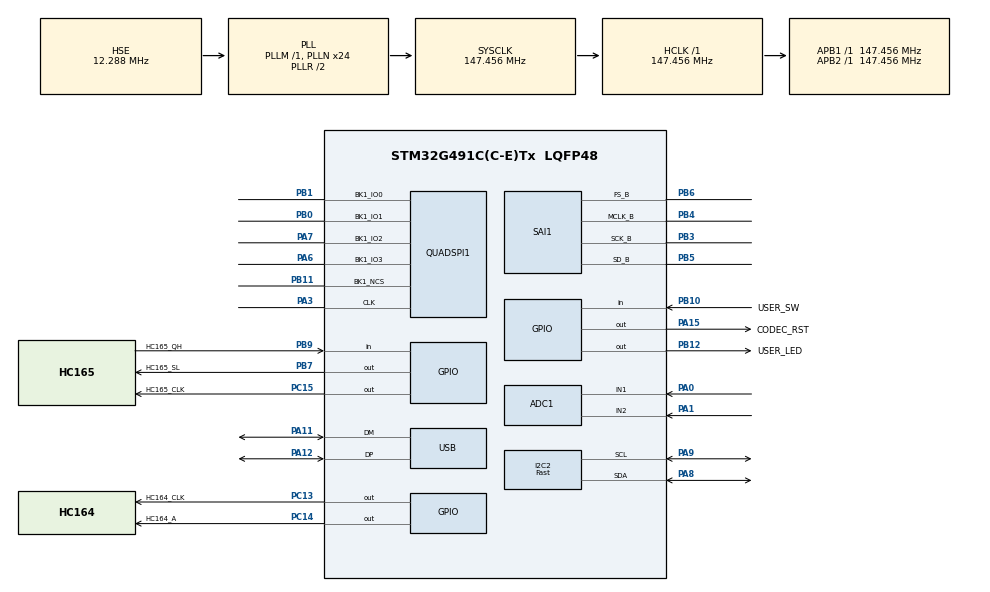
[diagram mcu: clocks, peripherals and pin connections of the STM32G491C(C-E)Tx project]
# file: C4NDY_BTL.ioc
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ADC1.Channel-0\#ChannelRegularConversion=ADC_CHANNEL_1
ADC1.Channel-1\#ChannelRegularConversion=ADC_CHANNEL_2
ADC1.ClockPrescaler=ADC_CLOCK_ASYNC_DIV4
ADC1.ContinuousConvMode=ENABLE
ADC1.DMAContinuousRequests=ENABLE
ADC1.NbrOfConversion=2
ADC1.NbrOfConversionFlag=1
ADC1.OffsetNumber-0\#ChannelRegularConversion=ADC_OFFSET_NONE
ADC1.OffsetNumber-1\#ChannelRegularConversion=ADC_OFFSET_NONE
ADC1.Overrun=ADC_OVR_DATA_OVERWRITTEN
ADC1.OversamplingMode=DISABLE
ADC1.Rank-0\#ChannelRegularConversion=1
ADC1.Rank-1\#ChannelRegularConversion=2
ADC1.SamplingTime-0\#ChannelRegularConversion=ADC_SAMPLETIME_640CYCLES_5
ADC1.SamplingTime-1\#ChannelRegularConversion=ADC_SAMPLETIME_640CYCLES_5
ADC1.master=1
Dma.ADC1.0.Direction=DMA_PERIPH_TO_MEMORY
Dma.ADC1.0.EventEnable=DISABLE
Dma.ADC1.0.Instance=DMA1_Channel2
Dma.ADC1.0.MemDataAlignment=DMA_MDATAALIGN_HALFWORD
Dma.ADC1.0.MemInc=DMA_MINC_ENABLE
Dma.ADC1.0.Mode=DMA_CIRCULAR
Dma.ADC1.0.PeriphDataAlignment=DMA_PDATAALIGN_HALFWORD
Dma.ADC1.0.PeriphInc=DMA_PINC_DISABLE
Dma.ADC1.0.Polarity=HAL_DMAMUX_REQ_GEN_RISING
Dma.ADC1.0.Priority=DMA_PRIORITY_LOW
Dma.ADC1.0.RequestNumber=1
Dma.ADC1.0.SignalID=NONE
Dma.ADC1.0.SyncEnable=DISABLE
Dma.ADC1.0.SyncPolarity=HAL_DMAMUX_SYNC_NO_EVENT
Dma.ADC1.0.SyncRequestNumber=1
Dma.ADC1.0.SyncSignalID=NONE
Dma.Request0=ADC1
Dma.Request1=SAI1_B
Dma.SAI1_B.1.Direction=DMA_MEMORY_TO_PERIPH
Dma.SAI1_B.1.EventEnable=DISABLE
Dma.SAI1_B.1.Instance=DMA1_Channel1
Dma.SAI1_B.1.MemDataAlignment=DMA_MDATAALIGN_HALFWORD
Dma.SAI1_B.1.MemInc=DMA_MINC_ENABLE
Dma.SAI1_B.1.Mode=DMA_CIRCULAR
Dma.SAI1_B.1.PeriphDataAlignment=DMA_PDATAALIGN_HALFWORD
Dma.SAI1_B.1.PeriphInc=DMA_PINC_DISABLE
Dma.SAI1_B.1.Polarity=HAL_DMAMUX_REQ_GEN_RISING
Dma.SAI1_B.1.Priority=DMA_PRIORITY_LOW
Dma.SAI1_B.1.RequestNumber=1
Dma.SAI1_B.1.SignalID=NONE
Dma.SAI1_B.1.SyncEnable=DISABLE
Dma.SAI1_B.1.SyncPolarity=HAL_DMAMUX_SYNC_NO_EVENT
Dma.SAI1_B.1.SyncRequestNumber=1
Dma.SAI1_B.1.SyncSignalID=NONE
I2C2.I2C_Speed_Mode=I2C_Fast
I2C2.Timing=0x40200F35
Mcu.Family=STM32G4
Mcu.Name=STM32G491C(C-E)Tx
Mcu.Package=LQFP48
NVIC.ADC1_2_IRQn=true\:8\:0\:true\:false\:true\:true\:true\:true
NVIC.DMA1_Channel1_IRQn=true\:0\:0\:false\:false\:true\:false\:true\:true
NVIC.DMA1_Channel2_IRQn=true\:4\:0\:true\:false\:true\:false\:true\:true
NVIC.PriorityGroup=NVIC_PRIORITYGROUP_4
NVIC.SAI1_IRQn=true\:2\:0\:true\:false\:true\:true\:true\:true
NVIC.TIM6_DAC_IRQn=true\:8\:0\:true\:false\:true\:true\:true\:true
NVIC.USB_HP_IRQn=true\:0\:0\:false\:false\:true\:true\:true\:true
NVIC.USB_LP_IRQn=true\:3\:0\:true\:false\:true\:true\:true\:true
PA0.Signal=SharedAnalog_PA0
PA1.Signal=SharedAnalog_PA1
PA11.Mode=Device
PA11.Signal=USB_DM
PA12.Mode=Device
PA12.Signal=USB_DP
PA13.Mode=Serial_Wire
PA13.Signal=SYS_JTMS-SWDIO
PA14.Mode=Serial_Wire
PA14.Signal=SYS_JTCK-SWCLK
PA15.GPIO_Label=CODEC_RST
PA15.Signal=GPIO_Output
PA3.GPIO_Speed=GPIO_SPEED_FREQ_VERY_HIGH
PA3.Mode=Single Bank 1
PA3.Signal=QUADSPI1_CLK
PA6.GPIO_Speed=GPIO_SPEED_FREQ_VERY_HIGH
PA6.Mode=Single Bank 1
PA6.Signal=QUADSPI1_BK1_IO3
PA7.GPIO_Speed=GPIO_SPEED_FREQ_VERY_HIGH
PA7.Mode=Single Bank 1
PA7.Signal=QUADSPI1_BK1_IO2
PA8.Mode=I2C
PA8.Signal=I2C2_SDA
PA9.Mode=I2C
PA9.Signal=I2C2_SCL
PB0.GPIO_Speed=GPIO_SPEED_FREQ_VERY_HIGH
PB0.Mode=Single Bank 1
PB0.Signal=QUADSPI1_BK1_IO1
PB1.GPIO_Speed=GPIO_SPEED_FREQ_VERY_HIGH
PB1.Mode=Single Bank 1
PB1.Signal=QUADSPI1_BK1_IO0
PB10.GPIO_Label=USER_SW
PB10.GPIO_PuPd=GPIO_PULLUP
PB10.Signal=GPIO_Input
PB11.GPIO_Speed=GPIO_SPEED_FREQ_VERY_HIGH
PB11.Mode=Single Bank 1
PB11.Signal=QUADSPI1_BK1_NCS
PB12.GPIO_Label=USER_LED
PB12.Signal=GPIO_Output
PB3.GPIO_Speed=GPIO_SPEED_FREQ_VERY_HIGH
PB3.Mode=SAI_B_MasterWithClock
PB3.Signal=SAI1_SCK_B
PB4.GPIO_Speed=GPIO_SPEED_FREQ_VERY_HIGH
PB4.Mode=SAI_B_MasterWithClock
PB4.Signal=SAI1_MCLK_B
PB5.GPIO_Speed=GPIO_SPEED_FREQ_VERY_HIGH
PB5.Mode=SAI_B_MasterWithClock
PB5.Signal=SAI1_SD_B
PB6.GPIO_FM6=__NULL
PB6.GPIO_Speed=GPIO_SPEED_FREQ_VERY_HIGH
PB6.Mode=SAI_B_MasterWithClock
PB6.Signal=SAI1_FS_B
PB7.GPIO_Label=HC165_SL
PB7.GPIO_Speed=GPIO_SPEED_FREQ_HIGH
PB7.Signal=GPIO_Output
PB9.GPIO_Label=HC165_QH
PB9.Signal=GPIO_Input
PC13.GPIO_Label=HC164_CLK
PC13.Signal=GPIO_Output
PC14-OSC32_IN.GPIO_Label=HC164_A
PC14-OSC32_IN.Signal=GPIO_Output
PC15-OSC32_OUT.GPIO_Label=HC165_CLK
PC15-OSC32_OUT.Signal=GPIO_Output
PF0-OSC_IN.Mode=HSE-External-Clock-Source
PF0-OSC_IN.Signal=RCC_OSC_IN
ProjectManager.HeapSize=0x200
ProjectManager.StackSize=0x400
ProjectManager.TargetToolchain=STM32CubeIDE
QUADSPI1.ClockMode=QSPI_CLOCK_MODE_0
QUADSPI1.ClockPrescaler=1
QUADSPI1.FifoThreshold=4
QUADSPI1.FlashSize=10
QUADSPI1.SampleShifting=QSPI_SAMPLE_SHIFTING_NONE
RCC.ADC12Freq_Value=147456000
RCC.ADC345Freq_Value=147456000
RCC.AHBFreq_Value=147456000
RCC.APB1Freq_Value=147456000
RCC.APB1TimFreq_Value=147456000
RCC.APB2Freq_Value=147456000
RCC.APB2TimFreq_Value=147456000
RCC.CortexFreq_Value=147456000
RCC.EXTERNAL_CLOCK_VALUE=12288000
RCC.HCLKFreq_Value=147456000
RCC.HSE_VALUE=12288000
RCC.HSI48_VALUE=48000000
RCC.HSI_VALUE=16000000
RCC.LSE_VALUE=32768
RCC.PLLN=24
RCC.PLLQ=RCC_PLLQ_DIV6
RCC.PLLSourceVirtual=RCC_PLLSOURCE_HSE
RCC.PWR_Regulator_Voltage_Scale=PWR_REGULATOR_VOLTAGE_SCALE1_BOOST
RCC.SAI1CLockSelection=RCC_SAI1CLKSOURCE_PLL
RCC.SYSCLKFreq_VALUE=147456000
RCC.SYSCLKSource=RCC_SYSCLKSOURCE_PLLCLK
RCC.USBFreq_Value=48000000
RCC.VCOOutputFreq_Value=294912000
SAI1.ActiveFrameLength-SAI_B_MasterWithClock=16
SAI1.AudioFrequency-SAI_B_MasterWithClock=SAI_AUDIO_FREQUENCY_MCKDIV
SAI1.DataSize-SAI_B_MasterWithClock=SAI_DATASIZE_16
SAI1.FIFOThreshold-SAI_B_MasterWithClock=SAI_FIFOTHRESHOLD_HF
SAI1.FirstBitOffset-SAI_B_MasterWithClock=0
SAI1.FrameLength-SAI_B_MasterWithClock=32
SAI1.Instance-SAI_B_MasterWithClock=SAI$Index_Block_B
SAI1.MckOutput-SAI_B_MasterWithClock=SAI_MCK_OUTPUT_ENABLE
SAI1.MckOverSampling-SAI_B_MasterWithClock=SAI_MCK_OVERSAMPLING_DISABLE
SAI1.Mckdiv-SAI_B_MasterWithClock=4
SAI1.MonoStereoMode-SAI_B_MasterWithClock=SAI_STEREOMODE
SAI1.NoDivider-SAI_B_MasterWithClock=SAI_MASTERDIVIDER_ENABLE
SAI1.SlotActive-SAI_B_MasterWithClock=0x0000FFFF
SAI1.SlotNumber-SAI_B_MasterWithClock=2
SAI1.VirtualMode-SAI_B_MasterWithClock=VM_MASTER
SAI1.VirtualSlotActive-SAI_B_MasterWithClock=SAI_SLOTACTIVE_ALL
SH.SharedAnalog_PA0.0=GPIO_Analog
SH.SharedAnalog_PA0.1=ADC1_IN1,IN1-Single-Ended
SH.SharedAnalog_PA1.0=GPIO_Analog
SH.SharedAnalog_PA1.1=ADC1_IN2,IN2-Single-Ended
TIM6.PeriodNoDither=20-1
TIM6.Prescaler=32768-1
USB.Sof_enable=ENABLE
USB_DEVICE.CLASS_NAME_FS=DFU
USB_DEVICE.MANUFACTURER_STRING=Yamamoto Works Ltd.
USB_DEVICE.PID_DFU_FS=0x0001
USB_DEVICE.PRODUCT_STRING_DFU_FS=C4NDY DFU Bootloader
USB_DEVICE.USBD_DFU_APP_DEFAULT_ADD=0x08020000
USB_DEVICE.USBD_DFU_MEDIA=@Internal Flash   /0x08000000/64*02Ka,192*02Kg
USB_DEVICE.USBD_DFU_XFER_SIZE=1024
USB_DEVICE.VID=0x31BF
USB_DEVICE.VirtualMode=Dfu
USB_DEVICE.VirtualModeFS=Dfu_FS
VP_SYS_VS_DBSignals.Mode=DisableDeadBatterySignals
VP_TIM6_VS_ClockSourceINT.Mode=Enable_Timer
VP_USB_DEVICE_VS_USB_DEVICE_DFU_FS.Mode=DFU_FS
board=custom

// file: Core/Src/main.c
/* USER CODE BEGIN Header */
/**
 ******************************************************************************
 * @file           : main.c
 * @brief          : Main program body
 ******************************************************************************
 * @attention
 *
 * Copyright (c) 2023 STMicroelectronics.
 * All rights reserved.
 *
 * This software is licensed under terms that can be found in the LICENSE file
 * in the root directory of this software component.
 * If no LICENSE file comes with this software, it is provided AS-IS.
 *
 ******************************************************************************
 */
/* USER CODE END Header */
#include "main.h"
#include "adc.h"
#include "dma.h"
#include "i2c.h"
#include "quadspi.h"
#include "sai.h"
#include "tim.h"
#include "usb_device.h"
#include "gpio.h"

/* USER CODE BEGIN Includes */
#include "stdbool.h"
/* USER CODE END Includes */

/* USER CODE BEGIN PTD */
typedef void (*pFunction)(void);
/* USER CODE END PTD */

/* USER CODE BEGIN PD */
#define FLASH_APP_ADDR (0x08020000)

#define FLASH_DATA_ADDR (0x0807F000)
/* USER CODE END PD */

/* USER CODE BEGIN PV */
volatile uint32_t jumpAddress;
volatile pFunction jumpToApplication;
/* USER CODE END PV */

void SystemClock_Config(void);

/* USER CODE BEGIN 0 */
void erase_flash_data(void)
{
    static FLASH_EraseInitTypeDef EraseInitStruct;
    uint32_t PAGEError;
    EraseInitStruct.TypeErase = FLASH_TYPEERASE_PAGES;
    EraseInitStruct.Page      = 254;
    EraseInitStruct.NbPages   = 2;

    if (HAL_FLASHEx_Erase(&EraseInitStruct, &PAGEError) != HAL_OK)
    {
        SEGGER_RTT_printf(0, "flash erase error...\n");
    }
}

void write_flash_data(uint8_t index, uint8_t val)
{
    if (HAL_FLASH_Program(FLASH_TYPEPROGRAM_DOUBLEWORD, FLASH_DATA_ADDR + 8 * index, val) != HAL_OK)
    {
        SEGGER_RTT_printf(0, "flash program error...\n");
    }
}

uint64_t read_flash_data(uint8_t index)
{
    return *(uint64_t*) (FLASH_DATA_ADDR + 8 * index);
}

void setBootDfuFlag(bool is_boot_dfu)
{
    SEGGER_RTT_printf(0, "erase & write FLASH...\n");
    HAL_FLASH_Unlock();

    erase_flash_data();

    write_flash_data(0, 0);

    HAL_FLASH_Lock();
}

void jumpUserApp()
{
    jumpAddress       = *(uint32_t*) (FLASH_APP_ADDR + 4);
    jumpToApplication = (pFunction) jumpAddress;

    HAL_RCC_DeInit();
    HAL_DeInit();

    __set_MSP(*(uint32_t*) FLASH_APP_ADDR);
    jumpToApplication();
}
/* USER CODE END 0 */

int main(void)
{

    /* MCU Configuration--------------------------------------------------------*/

    /* Reset of all peripherals, Initializes the Flash interface and the Systick. */
    HAL_Init();

    /* Configure the system clock */
    SystemClock_Config();

    /* Initialize all configured peripherals */
    MX_GPIO_Init();
    MX_DMA_Init();
    MX_SAI1_Init();
    MX_QUADSPI1_Init();
    MX_I2C2_Init();
    MX_ADC1_Init();
    MX_TIM6_Init();
    MX_USB_Device_Init();
    /* USER CODE BEGIN 2 */
    for (int i = 0; i < 3; i++)
    {
        HAL_GPIO_WritePin(USER_LED_GPIO_Port, USER_LED_Pin, GPIO_PIN_SET);
        HAL_Delay(200);
        HAL_GPIO_WritePin(USER_LED_GPIO_Port, USER_LED_Pin, GPIO_PIN_RESET);
        HAL_Delay(200);
    }

    if (read_flash_data(0) != 0)
    {
        setBootDfuFlag(false);

        SEGGER_RTT_printf(0, "Go to custom DFU mode.\n");
        HAL_Delay(100);
    }
    else
    {
        SEGGER_RTT_printf(0, "Go to Application Code.\n");
        HAL_Delay(100);

        jumpUserApp();
    }
    /* USER CODE END 2 */

    /* Infinite loop */
    while (1)
    {

    }
}

void SystemClock_Config(void)
{
    RCC_OscInitTypeDef RCC_OscInitStruct = {0};
    RCC_ClkInitTypeDef RCC_ClkInitStruct = {0};

    /** Configure the main internal regulator output voltage
     */
    HAL_PWREx_ControlVoltageScaling(PWR_REGULATOR_VOLTAGE_SCALE1_BOOST);

    /** Initializes the RCC Oscillators according to the specified parameters
     * in the RCC_OscInitTypeDef structure.
     */
    RCC_OscInitStruct.OscillatorType = RCC_OSCILLATORTYPE_HSI48 | RCC_OSCILLATORTYPE_HSE;
    RCC_OscInitStruct.HSEState       = RCC_HSE_BYPASS;
    RCC_OscInitStruct.HSI48State     = RCC_HSI48_ON;
    RCC_OscInitStruct.PLL.PLLState   = RCC_PLL_ON;
    RCC_OscInitStruct.PLL.PLLSource  = RCC_PLLSOURCE_HSE;
    RCC_OscInitStruct.PLL.PLLM       = RCC_PLLM_DIV1;
    RCC_OscInitStruct.PLL.PLLN       = 24;
    RCC_OscInitStruct.PLL.PLLP       = RCC_PLLP_DIV2;
    RCC_OscInitStruct.PLL.PLLQ       = RCC_PLLQ_DIV6;
    RCC_OscInitStruct.PLL.PLLR       = RCC_PLLR_DIV2;
    if (HAL_RCC_OscConfig(&RCC_OscInitStruct) != HAL_OK)
    {
        Error_Handler();
    }

    /** Initializes the CPU, AHB and APB buses clocks
     */
    RCC_ClkInitStruct.ClockType      = RCC_CLOCKTYPE_HCLK | RCC_CLOCKTYPE_SYSCLK | RCC_CLOCKTYPE_PCLK1 | RCC_CLOCKTYPE_PCLK2;
    RCC_ClkInitStruct.SYSCLKSource   = RCC_SYSCLKSOURCE_PLLCLK;
    RCC_ClkInitStruct.AHBCLKDivider  = RCC_SYSCLK_DIV1;
    RCC_ClkInitStruct.APB1CLKDivider = RCC_HCLK_DIV1;
    RCC_ClkInitStruct.APB2CLKDivider = RCC_HCLK_DIV1;

    if (HAL_RCC_ClockConfig(&RCC_ClkInitStruct, FLASH_LATENCY_4) != HAL_OK)
    {
        Error_Handler();
    }
}

void Error_Handler(void)
{
    __disable_irq();
    while (1)
    {
    }
}
